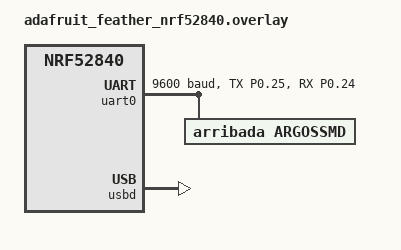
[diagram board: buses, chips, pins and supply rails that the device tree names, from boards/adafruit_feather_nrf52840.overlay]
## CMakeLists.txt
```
cmake_minimum_required(VERSION 3.13.1)

find_package(Zephyr REQUIRED HINTS $ENV{ZEPHYR_BASE})

project(app LANGUAGES C)

target_sources(app PRIVATE src/main.c)
```

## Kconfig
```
menu "Argos SMD peripheral driver example"
rsource "../../drivers/Kconfig"
endmenu

menu "Zephyr"
source "Kconfig.zephyr"
endmenu

module = APP
module-str = APP
source "subsys/logging/Kconfig.template.log_config"
```

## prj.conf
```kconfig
CONFIG_USB_DEVICE_STACK=y
CONFIG_USB_DEVICE_PRODUCT="Zephyr USB console sample"
CONFIG_USB_DEVICE_PID=0x0004
CONFIG_USB_DEVICE_INITIALIZE_AT_BOOT=n

# UART configuration for USB console
CONFIG_SERIAL=y
CONFIG_CONSOLE=y
CONFIG_UART_CONSOLE=y
CONFIG_UART_LINE_CTRL=y

# Enable custom device driver
CONFIG_UART_INTERRUPT_DRIVEN=y
CONFIG_ARGOS_SMD=y

# Logging
CONFIG_LOG=y
CONFIG_LOG_DEFAULT_LEVEL=3
#CONFIG_LOG_BACKEND_UART=y
CONFIG_APP_LOG_LEVEL_DBG=y
CONFIG_ARGOS_SMD_LOG_LEVEL_DBG=y
```

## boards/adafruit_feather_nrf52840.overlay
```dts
/ {
    chosen {
	   	zephyr,console = &cdc_acm_uart;
		/delete-property/ zephyr,shell-uart;
		/delete-property/ zephyr,uart-mcumgr;
		/delete-property/ zephyr,bt-mon-uart;
		/delete-property/ zephyr,bt-c2h-uart;
    };
};

/* Configuration des pins UART0 */
&pinctrl {
    uart0_default: uart0_default {
        group1 {
            psels = <NRF_PSEL(UART_TX, 0, 25)>,  /* P0.06 = TX */
                    <NRF_PSEL(UART_RX, 0, 24)>;  /* P0.08 = RX */
        };
    };

    uart0_sleep: uart0_sleep {
        group1 {
            psels = <NRF_PSEL(UART_TX, 0, 25)>,
                    <NRF_PSEL(UART_RX, 0, 24)>;
            low-power-enable;
        };
    };
};

&uart0 {
    status = "okay";
    current-speed = <9600>;
    pinctrl-0 = <&uart0_default>;
    pinctrl-1 = <&uart0_sleep>;
    pinctrl-names = "default", "sleep";

    argossmd {
        compatible = "arribada,argossmd";
    };
};

zephyr_udc0: &usbd {
	compatible = "nordic,nrf-usbd";
	status = "okay";
	cdc_acm_uart: cdc_acm_uart0 {
		compatible = "zephyr,cdc-acm-uart";
		label = "CDC_ACM";
	};
};
```

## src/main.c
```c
#include <zephyr/kernel.h>
#include <zephyr/usb/usb_device.h>
#include <zephyr/logging/log.h>
#include <zephyr/drivers/uart.h>
#include <app_version.h>
#include <stdio.h>

#include <argos-smd/argos_smd.h>

LOG_MODULE_REGISTER(main, CONFIG_APP_LOG_LEVEL);

// BUILD_ASSERT(DT_NODE_HAS_COMPAT(DT_CHOSEN(zephyr_console), zephyr_cdc_acm_uart),
// 	     "Console device is not ACM CDC UART device");

void array_to_string(uint8_t *buf, char *str, uint8_t len)
{
	for (int i = 0; i < len; i++) {
		str[i] = (char)buf[i];
	}
	str[len] = '\0'; // Null-terminate the string
}

void read_callback(uint8_t *buf, size_t len, void *user_data)
{
	char new_tag_str[ARGOS_SMD_BUF_SIZE + 1];
	array_to_string(buf, new_tag_str, len);
	LOG_INF("Received response: %s", new_tag_str);
}

int main(void)

{
	const struct device *dev_smd = DEVICE_DT_GET_ONE(arribada_argossmd);

	LOG_INF("Booting");
	k_sleep(K_MSEC(1000));

	k_sleep(K_MSEC(1000));
	argos_smd_set_callback(dev_smd, read_callback, NULL);

	argos_read_ping(dev_smd);

	k_sleep(K_MSEC(1000));
	argos_read_firmware_version(dev_smd);

	k_sleep(K_MSEC(1000));
	argos_read_address(dev_smd);

	k_sleep(K_MSEC(1000));
	argos_read_serial_number(dev_smd);

	k_sleep(K_MSEC(1000));
	argos_read_id(dev_smd);

	k_sleep(K_MSEC(1000));
	argos_read_radioconf(dev_smd);

	k_sleep(K_MSEC(1000));
	argos_read_prepass_enable(dev_smd);

	k_sleep(K_MSEC(1000));
	argos_read_udate(dev_smd);

	k_sleep(K_MSEC(1000));
	argos_read_kmac(dev_smd);

	k_sleep(K_MSEC(3000));
	char msg[9] = "FFFFFFFF";
	argos_send_message(dev_smd, msg);

	k_sleep(K_MSEC(3000));

	return 0;
}
```
